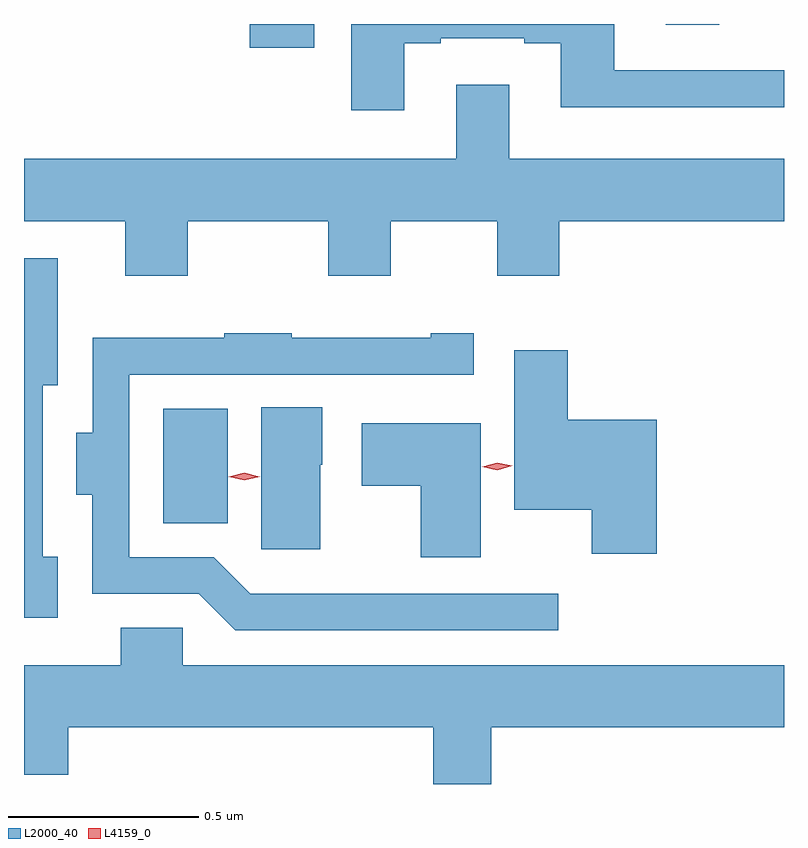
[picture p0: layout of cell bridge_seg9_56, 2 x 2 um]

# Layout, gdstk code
import gdstk
lib = gdstk.Library(unit=1e-6, precision=1e-09)
def R(c, l, rs):  # rectangles x0, y0, x1, y1
    for r in rs: c.add(gdstk.rectangle(r[:2], r[2:], *l))
def P(c, l, *ps):  # polygons
    for p in ps: c.add(gdstk.Polygon(p, *l))
L2000_40 = (2000, 40)
L4159_0 = (4159, 0)

bridge_seg9_56 = lib.new_cell('bridge_seg9_56')
R(bridge_seg9_56, L2000_40, [(1097.726,1184.969,1097.896,1185.271), (1097.954,1186.221,1098.124,1186.283), (1099.049,1186.281,1099.189,1186.283)])
P(bridge_seg9_56, L2000_40, [(1098.361,1186.233),(1098.457,1186.233),(1098.457,1186.245),(1098.677,1186.245),(1098.677,1186.233),(1098.773,1186.233),(1098.773,1186.064),(1099.36,1186.064),(1099.36,1186.161),(1098.913,1186.161),(1098.913,1186.283),(1098.221,1186.283),(1098.221,1186.056),(1098.361,1186.056)],
  [(1097.791,1185.764),(1098.161,1185.764),(1098.161,1185.621),(1098.325,1185.621),(1098.325,1185.764),(1098.605,1185.764),(1098.605,1185.621),(1098.769,1185.621),(1098.769,1185.764),(1099.36,1185.764),(1099.36,1185.928),(1098.637,1185.928),(1098.637,1186.123),(1098.497,1186.123),(1098.497,1185.928),(1097.36,1185.928),(1097.36,1185.764),(1097.627,1185.764),(1097.627,1185.621),(1097.791,1185.621)],
  [(1097.449,1184.881),(1097.409,1184.881),(1097.409,1185.332),(1097.449,1185.332),(1097.449,1185.667),(1097.36,1185.667),(1097.36,1184.721),(1097.449,1184.721)],
  [(1098.766,1184.784),(1097.955,1184.784),(1097.859,1184.88),(1097.637,1184.88),(1097.637,1185.36),(1098.544,1185.36),(1098.544,1185.469),(1098.431,1185.469),(1098.431,1185.457),(1098.065,1185.457),(1098.065,1185.469),(1097.887,1185.469),(1097.887,1185.457),(1097.541,1185.457),(1097.541,1185.208),(1097.498,1185.208),(1097.498,1185.044),(1097.54,1185.044),(1097.54,1184.784),(1097.82,1184.784),(1097.916,1184.688),(1098.766,1184.688)],
  [(1099.025,1185.241),(1098.791,1185.241),(1098.791,1185.424),(1098.65,1185.424),(1098.65,1185.005),(1098.854,1185.005),(1098.854,1184.889),(1099.025,1184.889)],
  [(1098.139,1185.123),(1098.145,1185.123),(1098.145,1185.275),(1097.984,1185.275),(1097.984,1184.901),(1098.139,1184.901)],
  [(1098.562,1185.232),(1098.249,1185.232),(1098.249,1185.068),(1098.404,1185.068),(1098.404,1184.88),(1098.562,1184.88)],
  [(1098.59,1184.432),(1099.36,1184.432),(1099.36,1184.596),(1097.778,1184.596),(1097.778,1184.694),(1097.615,1184.694),(1097.615,1184.596),(1097.36,1184.596),(1097.36,1184.308),(1097.477,1184.308),(1097.477,1184.432),(1098.437,1184.432),(1098.437,1184.283),(1098.59,1184.283)])
P(bridge_seg9_56, L4159_0, [(1098.606,1185.109),(1098.566,1185.118),(1098.566,1185.118),(1098.566,1185.118),(1098.605,1185.129),(1098.645,1185.121),(1098.645,1185.12),(1098.645,1185.12)],
  [(1097.939,1185.082),(1097.899,1185.091),(1097.899,1185.092),(1097.899,1185.092),(1097.939,1185.102),(1097.98,1185.092),(1097.98,1185.092),(1097.98,1185.091)])

lib.write_gds('bridge_seg9_56.gds')
